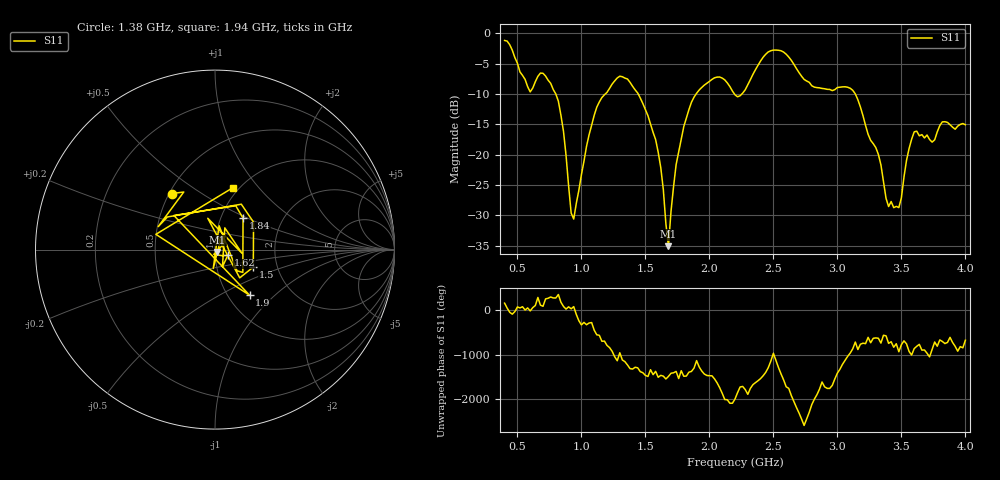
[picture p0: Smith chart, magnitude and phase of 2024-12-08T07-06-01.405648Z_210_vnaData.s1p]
!Created with skrf (http://scikit-rf.org).
# Hz S RI R 50.0
!freq ReS11 ImS11
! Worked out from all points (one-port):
!   181 points, 400 MHz to 4 GHz, reference 50 ohm
!   lowest |S11| = -35.1 dB at 1.68 GHz (marker M1), VSWR 1.04, Z = 51.2 - j1.32 ohm
!   |S11| at or under -10 dB: 799.7 MHz to 1.187 GHz (387.5 MHz wide, 39 % of centre); 1.443 GHz to 1.897 GHz (453.4 MHz wide, 27.1 % of centre); 3.14 GHz to end of sweep (the widest 3 of 4)
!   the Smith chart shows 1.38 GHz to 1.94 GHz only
!   S11 on the Smith chart (normalised r, x): 1.38 GHz: 0.52, +0.38; 1.5 GHz: 1.50, -0.31; 1.62 GHz: 1.15, -0.07; 1.84 GHz: 1.27, +0.47; 1.9 GHz: 1.25, -0.71; 1.94 GHz: 0.94, +0.74
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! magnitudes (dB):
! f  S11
! 400 MHz  -1.2
! 600 MHz  -9.7
! 680 MHz  -6.6
! 760 MHz  -8.3
! 860 MHz  -16.2
! 920 MHz  -29.6
! 940 MHz  -30.6
! 1.12 GHz  -12.2
! 1.3 GHz  -7.1
! 1.38 GHz  -8.1
! 1.5 GHz  -12.6
! 1.62 GHz  -22.1
! 1.68 GHz  -35.1
! 1.76 GHz  -19.5
! 1.84 GHz  -12.6
! 1.9 GHz  -9.9
! 1.94 GHz  -8.9
! 2.08 GHz  -7.2
! 2.2 GHz  -10.2
! 2.46 GHz  -3.1
! 2.66 GHz  -5.1
! 3.1 GHz  -9.1
! 3.32 GHz  -20.0
! 3.4 GHz  -28.6
! 3.48 GHz  -28.7
! 3.56 GHz  -19.0
! 3.6 GHz  -16.2
! 4 GHz  -15.1
